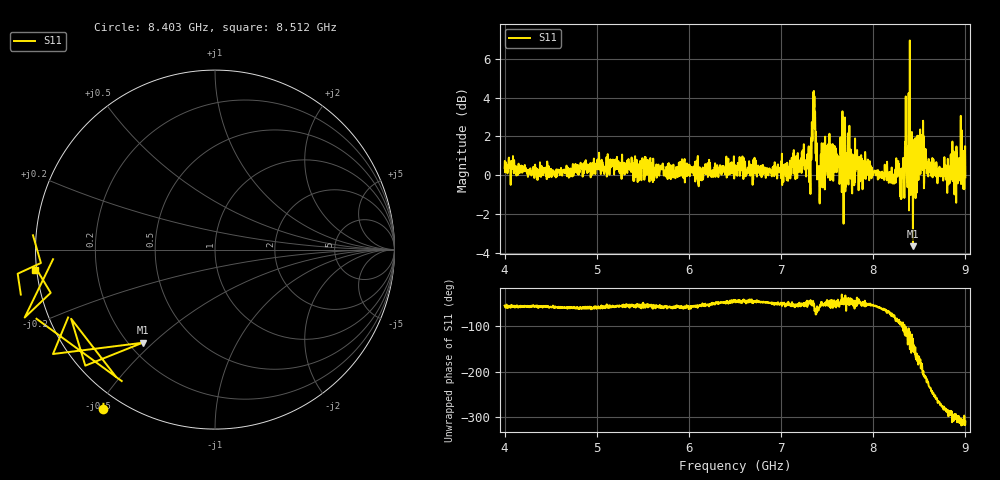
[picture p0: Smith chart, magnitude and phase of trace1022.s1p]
! Created with skrf 1.8.0 (http://scikit-rf.org).
# Hz S RI R 50.0
!freq ReS11 ImS11
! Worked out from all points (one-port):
!   1601 points, 4 GHz to 9 GHz, reference 50 ohm
!   lowest |S11| = -3.6 dB at 8.431 GHz (marker M1), VSWR 4.84, Z = 12.7 - j23.2 ohm
!   |S11| at or under -10 dB: nowhere
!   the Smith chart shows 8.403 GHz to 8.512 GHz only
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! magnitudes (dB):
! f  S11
! 4 GHz  0.4
! 4.625 GHz  0.0
! 5.25 GHz  0.1
! 5.875 GHz  0.3
! 6.5 GHz  0.4
! 7.038 GHz  0.1
! 7.125 GHz  0.6
! 7.294 GHz  0.7
! 7.356 GHz  4.3
! 7.409 GHz  -0.2
! 7.438 GHz  0.6
! 7.503 GHz  0.6
! 7.638 GHz  -0.2
! 7.669 GHz  1.3
! 7.75 GHz  0.0
! 8.316 GHz  -0.1
! 8.334 GHz  -0.2
! 8.375 GHz  0.8
! 8.403 GHz  0.7
! 8.412 GHz  0.6
! 8.431 GHz  -3.6
! 8.45 GHz  0.5
! 8.459 GHz  -1.2
! 8.522 GHz  2.1
! 8.606 GHz  0.3
! 8.812 GHz  0.6
! 8.956 GHz  -0.2
! 9 GHz  -0.1
